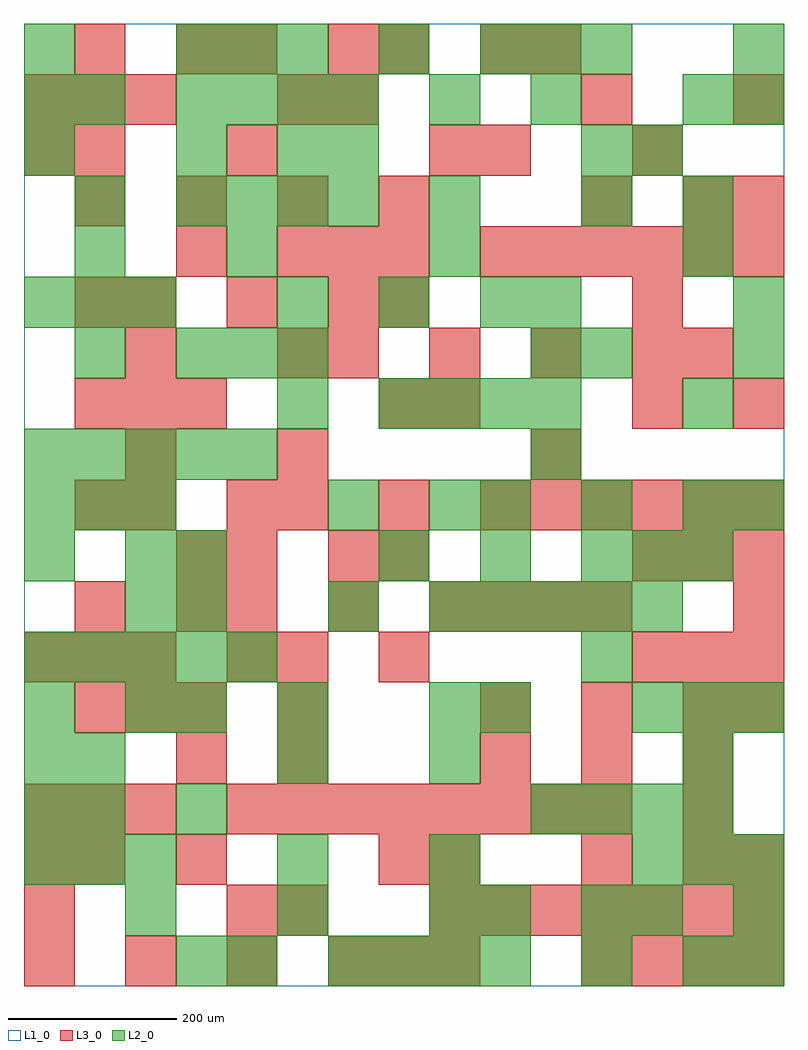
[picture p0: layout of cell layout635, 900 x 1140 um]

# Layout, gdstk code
import gdstk
lib = gdstk.Library(unit=1e-6, precision=1e-09)
def R(c, l, rs):  # rectangles x0, y0, x1, y1
    for r in rs: c.add(gdstk.rectangle(r[:2], r[2:], *l))
def A(c, l, x, y, w, h, nx, ny, dx, dy):  # array of equal rectangles
    R(c, l, [(x+i*dx, y+j*dy, x+i*dx+w, y+j*dy+h) for i in range(nx) for j in range(ny)])
L1_0 = (1, 0)
L2_0 = (2, 0)
L3_0 = (3, 0)

layout635 = lib.new_cell('layout635')
R(layout635, L1_0, [(0,0,900,1140)])
A(layout635, L2_0, 360, 0, 60, 60, 4, 1, 60, 0)
A(layout635, L2_0, 780, 0, 60, 60, 1, 3, 0, 240)
A(layout635, L2_0, 120, 60, 60, 60, 3, 1, 180, 0)
A(layout635, L2_0, 0, 120, 60, 60, 3, 2, 60, 420)
A(layout635, L2_0, 720, 120, 60, 60, 3, 2, 60, 180)
A(layout635, L2_0, 0, 180, 60, 60, 1, 3, 0, 60)
A(layout635, L2_0, 180, 180, 60, 60, 1, 3, 0, 120)
A(layout635, L2_0, 600, 180, 60, 60, 4, 1, 60, 0)
A(layout635, L2_0, 0, 360, 60, 60, 5, 2, 60, 240)
A(layout635, L2_0, 480, 420, 60, 60, 5, 1, 60, 0)
A(layout635, L2_0, 420, 480, 60, 60, 3, 1, 120, 0)
A(layout635, L2_0, 540, 540, 60, 60, 3, 1, 120, 0)
A(layout635, L2_0, 420, 660, 60, 60, 4, 1, 60, 0)
A(layout635, L2_0, 180, 720, 60, 60, 3, 2, 60, 360)
A(layout635, L2_0, 0, 780, 60, 60, 3, 1, 60, 0)
A(layout635, L2_0, 300, 780, 60, 60, 3, 1, 120, 0)
A(layout635, L2_0, 180, 900, 60, 60, 4, 2, 60, 120)
A(layout635, L2_0, 0, 960, 60, 60, 1, 3, 0, 60)
A(layout635, L2_0, 540, 1080, 60, 60, 3, 1, 60, 0)
R(layout635, L2_0, [(180,0,240,60), (240,0,300,60), (660,0,720,60), (840,0,900,60), (540,60,600,120), (660,60,720,120), (720,60,780,120), (840,60,900,120), (300,120,360,180), (480,120,540,180), (60,180,120,240), (60,240,120,300), (300,240,360,300), (480,240,540,300), (120,300,180,360), (300,300,360,360), (480,300,540,360), (540,300,600,360), (660,360,720,420), (120,420,180,480), (360,420,420,480), (0,480,60,540), (120,480,180,540), (180,480,240,540), (720,480,780,540), (360,540,420,600), (480,540,540,600), (840,540,900,600), (600,600,660,660), (300,660,360,720), (780,660,840,720), (60,720,120,780), (600,720,660,780), (660,720,720,780), (840,720,900,780), (600,780,660,840), (840,780,900,840), (60,840,120,900), (240,840,300,900), (480,840,540,900), (780,840,840,900), (60,900,120,960), (480,900,540,960), (660,900,720,960), (780,900,840,960), (180,960,240,1020), (300,960,360,1020), (360,960,420,1020), (660,960,720,1020), (720,960,780,1020), (60,1020,120,1080), (480,1020,540,1080), (600,1020,660,1080), (780,1020,840,1080), (840,1020,900,1080), (420,1080,480,1140), (840,1080,900,1140)])
A(layout635, L3_0, 0, 0, 60, 60, 4, 1, 120, 0)
A(layout635, L3_0, 660, 0, 60, 60, 4, 1, 60, 0)
A(layout635, L3_0, 480, 60, 60, 60, 7, 1, 60, 0)
A(layout635, L3_0, 0, 180, 60, 60, 3, 2, 60, 180)
A(layout635, L3_0, 240, 180, 60, 60, 8, 1, 60, 0)
A(layout635, L3_0, 300, 240, 60, 60, 1, 3, 0, 60)
A(layout635, L3_0, 540, 240, 60, 60, 3, 2, 120, 60)
A(layout635, L3_0, 60, 300, 60, 60, 3, 2, 60, 360)
A(layout635, L3_0, 720, 360, 60, 60, 3, 2, 60, 120)
A(layout635, L3_0, 240, 420, 60, 60, 3, 1, 120, 0)
A(layout635, L3_0, 540, 420, 60, 60, 3, 1, 60, 0)
A(layout635, L3_0, 840, 420, 60, 60, 1, 3, 0, 240)
A(layout635, L3_0, 300, 540, 60, 60, 3, 1, 120, 0)
A(layout635, L3_0, 600, 540, 60, 60, 5, 1, 60, 0)
A(layout635, L3_0, 360, 720, 60, 60, 4, 1, 120, 0)
A(layout635, L3_0, 120, 780, 60, 60, 3, 1, 120, 0)
A(layout635, L3_0, 300, 840, 60, 60, 3, 1, 60, 0)
A(layout635, L3_0, 540, 840, 60, 60, 6, 1, 60, 0)
A(layout635, L3_0, 60, 900, 60, 60, 4, 1, 120, 0)
A(layout635, L3_0, 0, 1020, 60, 60, 3, 1, 60, 0)
R(layout635, L3_0, [(420,0,480,60), (480,0,540,60), (0,60,60,120), (240,60,300,120), (300,60,360,120), (0,120,60,180), (60,120,120,180), (180,120,240,180), (420,120,480,180), (480,120,540,180), (660,120,720,180), (780,120,840,180), (840,120,900,180), (780,180,840,240), (180,240,240,300), (840,300,900,360), (240,360,300,420), (420,360,480,420), (60,420,120,480), (180,420,240,480), (180,480,240,540), (240,480,300,540), (360,480,420,540), (420,480,480,540), (60,540,120,600), (120,540,180,600), (240,540,300,600), (120,600,180,660), (300,600,360,660), (600,600,660,660), (420,660,480,720), (480,660,540,720), (720,660,780,720), (120,720,180,780), (300,720,360,780), (780,720,840,780), (60,780,120,840), (420,780,480,840), (720,780,780,840), (180,840,240,900), (660,900,720,960), (780,900,840,960), (0,960,60,1020), (60,960,120,1020), (240,960,300,1020), (480,960,540,1020), (540,960,600,1020), (720,960,780,1020), (300,1020,360,1080), (360,1020,420,1080), (660,1020,720,1080), (840,1020,900,1080), (60,1080,120,1140), (180,1080,240,1140), (240,1080,300,1140), (360,1080,420,1140), (420,1080,480,1140), (540,1080,600,1140), (600,1080,660,1140)])

lib.write_gds('layout635.gds')
